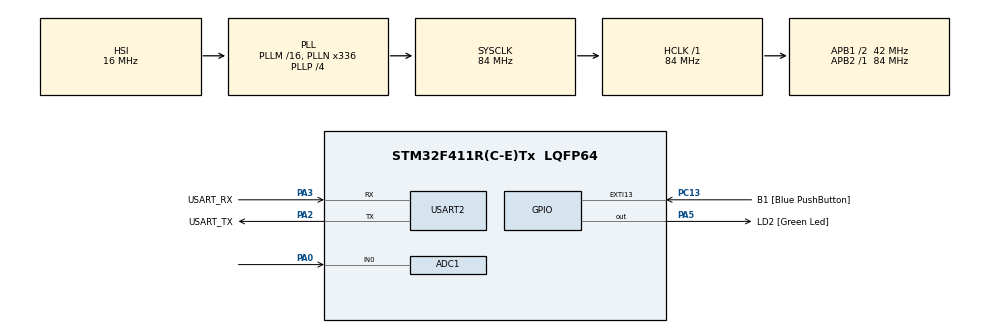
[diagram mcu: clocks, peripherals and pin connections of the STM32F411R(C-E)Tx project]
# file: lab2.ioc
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ADC1.Channel-1\#ChannelRegularConversion=ADC_CHANNEL_0
ADC1.Channel-2\#ChannelRegularConversion=ADC_CHANNEL_TEMPSENSOR
ADC1.ContinuousConvMode=ENABLE
ADC1.DMAContinuousRequests=ENABLE
ADC1.NbrOfConversion=2
ADC1.NbrOfConversionFlag=1
ADC1.Rank-1\#ChannelRegularConversion=1
ADC1.Rank-2\#ChannelRegularConversion=2
ADC1.SamplingTime-1\#ChannelRegularConversion=ADC_SAMPLETIME_480CYCLES
ADC1.SamplingTime-2\#ChannelRegularConversion=ADC_SAMPLETIME_480CYCLES
ADC1.ScanConvMode=ENABLE
ADC1.master=1
Dma.ADC1.0.Direction=DMA_PERIPH_TO_MEMORY
Dma.ADC1.0.FIFOMode=DMA_FIFOMODE_DISABLE
Dma.ADC1.0.Instance=DMA2_Stream0
Dma.ADC1.0.MemDataAlignment=DMA_MDATAALIGN_HALFWORD
Dma.ADC1.0.MemInc=DMA_MINC_ENABLE
Dma.ADC1.0.Mode=DMA_CIRCULAR
Dma.ADC1.0.PeriphDataAlignment=DMA_PDATAALIGN_HALFWORD
Dma.ADC1.0.PeriphInc=DMA_PINC_DISABLE
Dma.ADC1.0.Priority=DMA_PRIORITY_LOW
Dma.Request0=ADC1
Mcu.Family=STM32F4
Mcu.Name=STM32F411R(C-E)Tx
Mcu.Package=LQFP64
NVIC.DMA2_Stream0_IRQn=true\:0\:0\:false\:false\:true\:false\:true\:true
NVIC.PriorityGroup=NVIC_PRIORITYGROUP_0
PA0-WKUP.Signal=ADCx_IN0
PA13.GPIO_Label=TMS
PA13.Mode=Serial_Wire
PA13.Signal=SYS_JTMS-SWDIO
PA14.GPIO_Label=TCK
PA14.Mode=Serial_Wire
PA14.Signal=SYS_JTCK-SWCLK
PA2.GPIO_Label=USART_TX
PA2.Mode=Asynchronous
PA2.Signal=USART2_TX
PA3.GPIO_Label=USART_RX
PA3.Mode=Asynchronous
PA3.Signal=USART2_RX
PA5.GPIO_Label=LD2 [Green Led]
PA5.Signal=GPIO_Output
PB3.GPIO_Label=SWO
PB3.Signal=SYS_JTDO-SWO
PC13-ANTI_TAMP.GPIO_Label=B1 [Blue PushButton]
PC13-ANTI_TAMP.GPIO_ModeDefaultEXTI=GPIO_MODE_IT_FALLING
PC13-ANTI_TAMP.Signal=GPXTI13
PC14-OSC32_IN.Mode=LSE-External-Oscillator
PC14-OSC32_IN.Signal=RCC_OSC32_IN
PC15-OSC32_OUT.Mode=LSE-External-Oscillator
PC15-OSC32_OUT.Signal=RCC_OSC32_OUT
PH0\ -\ OSC_IN.Mode=HSE-External-Clock-Source
PH0\ -\ OSC_IN.Signal=RCC_OSC_IN
PH1\ -\ OSC_OUT.Mode=HSE-External-Clock-Source
PH1\ -\ OSC_OUT.Signal=RCC_OSC_OUT
ProjectManager.HeapSize=0x200
ProjectManager.StackSize=0x400
ProjectManager.TargetToolchain=STM32CubeIDE
RCC.48MHZClocksFreq_Value=84000000
RCC.AHBFreq_Value=84000000
RCC.APB1CLKDivider=RCC_HCLK_DIV2
RCC.APB1Freq_Value=42000000
RCC.APB1TimFreq_Value=84000000
RCC.APB2Freq_Value=84000000
RCC.APB2TimFreq_Value=84000000
RCC.CortexFreq_Value=84000000
RCC.FLatency-AdvancedSettings=FLASH_LATENCY_2
RCC.HCLKFreq_Value=84000000
RCC.HSE_VALUE=8000000
RCC.HSI_VALUE=16000000
RCC.PLLN=336
RCC.PLLP=RCC_PLLP_DIV4
RCC.SYSCLKFreq_VALUE=84000000
RCC.SYSCLKSource=RCC_SYSCLKSOURCE_PLLCLK
RCC.VCOOutputFreq_Value=336000000
SH.ADCx_IN0.0=ADC1_IN0,IN0
USART2.VirtualMode=VM_ASYNC
VP_ADC1_TempSens_Input.Mode=IN-TempSens
board=NUCLEO-F411RE

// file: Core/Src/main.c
/* USER CODE BEGIN Header */
/**
  ******************************************************************************
  * @file           : main.c
  * @brief          : Main program body
  ******************************************************************************
  * @attention
  *
  * Copyright (c) 2023 STMicroelectronics.
  * All rights reserved.
  *
  * This software is licensed under terms that can be found in the LICENSE file
  * in the root directory of this software component.
  * If no LICENSE file comes with this software, it is provided AS-IS.
  *
  ******************************************************************************
  */
/* USER CODE END Header */
#include "main.h"

ADC_HandleTypeDef hadc1;
DMA_HandleTypeDef hdma_adc1;

UART_HandleTypeDef huart2;

/* USER CODE BEGIN PV */
// half word
struct Buffer{
	uint16_t ADC_IN0;
	uint16_t TempSensor;
};

struct Buffer B[20] = {0};

uint32_t temp = 0;
uint32_t mV = 0;
uint32_t average_temp = 0;
uint32_t temp_cal = 0;
uint32_t average_mV = 0;

/* USER CODE END PV */

void SystemClock_Config(void);
static void MX_GPIO_Init(void);
static void MX_DMA_Init(void);
static void MX_USART2_UART_Init(void);
static void MX_ADC1_Init(void);

int main(void)
{

  /* MCU Configuration--------------------------------------------------------*/

  /* Reset of all peripherals, Initializes the Flash interface and the Systick. */
  HAL_Init();

  /* Configure the system clock */
  SystemClock_Config();

  /* Initialize all configured peripherals */
  MX_GPIO_Init();
  MX_DMA_Init();
  MX_USART2_UART_Init();
  MX_ADC1_Init();
  /* USER CODE BEGIN 2 */

  HAL_ADC_Start_DMA(&hadc1, B, 40);
  /* USER CODE END 2 */

  /* Infinite loop */
  while (1)
  {

    /* USER CODE BEGIN 3 */
	  static uint32_t timestamp = 0;
	  if(HAL_GetTick() >= timestamp)
	  {
		  timestamp = HAL_GetTick() + 1000;
	  }
	  register int i = 0;
	  for(i = 0; i<20; i++){
		  temp = temp + (((B[i].TempSensor)*3.3*1000)/4096);
		  mV = mV + ((B[i].ADC_IN0)*3.3*1000/4096);
	  }

	  temp = temp/20;
	  average_temp = ((temp - 760)/2.5) + 25 + 273;

	  mV = mV*2; // V to mV
	  average_mV = mV/20;

	  // reset
	  temp = 0;
	  mV = 0;
//	  }
  }
  /* USER CODE END 3 */
}

void SystemClock_Config(void)
{
  RCC_OscInitTypeDef RCC_OscInitStruct = {0};
  RCC_ClkInitTypeDef RCC_ClkInitStruct = {0};

  /** Configure the main internal regulator output voltage
  */
  __HAL_RCC_PWR_CLK_ENABLE();
  __HAL_PWR_VOLTAGESCALING_CONFIG(PWR_REGULATOR_VOLTAGE_SCALE1);

  /** Initializes the RCC Oscillators according to the specified parameters
  * in the RCC_OscInitTypeDef structure.
  */
  RCC_OscInitStruct.OscillatorType = RCC_OSCILLATORTYPE_HSI;
  RCC_OscInitStruct.HSIState = RCC_HSI_ON;
  RCC_OscInitStruct.HSICalibrationValue = RCC_HSICALIBRATION_DEFAULT;
  RCC_OscInitStruct.PLL.PLLState = RCC_PLL_ON;
  RCC_OscInitStruct.PLL.PLLSource = RCC_PLLSOURCE_HSI;
  RCC_OscInitStruct.PLL.PLLM = 16;
  RCC_OscInitStruct.PLL.PLLN = 336;
  RCC_OscInitStruct.PLL.PLLP = RCC_PLLP_DIV4;
  RCC_OscInitStruct.PLL.PLLQ = 4;
  if (HAL_RCC_OscConfig(&RCC_OscInitStruct) != HAL_OK)
  {
    Error_Handler();
  }

  /** Initializes the CPU, AHB and APB buses clocks
  */
  RCC_ClkInitStruct.ClockType = RCC_CLOCKTYPE_HCLK|RCC_CLOCKTYPE_SYSCLK
                              |RCC_CLOCKTYPE_PCLK1|RCC_CLOCKTYPE_PCLK2;
  RCC_ClkInitStruct.SYSCLKSource = RCC_SYSCLKSOURCE_PLLCLK;
  RCC_ClkInitStruct.AHBCLKDivider = RCC_SYSCLK_DIV1;
  RCC_ClkInitStruct.APB1CLKDivider = RCC_HCLK_DIV2;
  RCC_ClkInitStruct.APB2CLKDivider = RCC_HCLK_DIV1;

  if (HAL_RCC_ClockConfig(&RCC_ClkInitStruct, FLASH_LATENCY_2) != HAL_OK)
  {
    Error_Handler();
  }
}

static void MX_ADC1_Init(void)
{

  ADC_ChannelConfTypeDef sConfig = {0};

  /** Configure the global features of the ADC (Clock, Resolution, Data Alignment and number of conversion)
  */
  hadc1.Instance = ADC1;
  hadc1.Init.ClockPrescaler = ADC_CLOCK_SYNC_PCLK_DIV4;
  hadc1.Init.Resolution = ADC_RESOLUTION_12B;
  hadc1.Init.ScanConvMode = ENABLE;
  hadc1.Init.ContinuousConvMode = ENABLE;
  hadc1.Init.DiscontinuousConvMode = DISABLE;
  hadc1.Init.ExternalTrigConvEdge = ADC_EXTERNALTRIGCONVEDGE_NONE;
  hadc1.Init.ExternalTrigConv = ADC_SOFTWARE_START;
  hadc1.Init.DataAlign = ADC_DATAALIGN_RIGHT;
  hadc1.Init.NbrOfConversion = 2;
  hadc1.Init.DMAContinuousRequests = ENABLE;
  hadc1.Init.EOCSelection = ADC_EOC_SINGLE_CONV;
  if (HAL_ADC_Init(&hadc1) != HAL_OK)
  {
    Error_Handler();
  }

  /** Configure for the selected ADC regular channel its corresponding rank in the sequencer and its sample time.
  */
  sConfig.Channel = ADC_CHANNEL_0;
  sConfig.Rank = 1;
  sConfig.SamplingTime = ADC_SAMPLETIME_480CYCLES;
  if (HAL_ADC_ConfigChannel(&hadc1, &sConfig) != HAL_OK)
  {
    Error_Handler();
  }

  /** Configure for the selected ADC regular channel its corresponding rank in the sequencer and its sample time.
  */
  sConfig.Channel = ADC_CHANNEL_TEMPSENSOR;
  sConfig.Rank = 2;
  if (HAL_ADC_ConfigChannel(&hadc1, &sConfig) != HAL_OK)
  {
    Error_Handler();
  }

}

static void MX_USART2_UART_Init(void)
{

  huart2.Instance = USART2;
  huart2.Init.BaudRate = 115200;
  huart2.Init.WordLength = UART_WORDLENGTH_8B;
  huart2.Init.StopBits = UART_STOPBITS_1;
  huart2.Init.Parity = UART_PARITY_NONE;
  huart2.Init.Mode = UART_MODE_TX_RX;
  huart2.Init.HwFlowCtl = UART_HWCONTROL_NONE;
  huart2.Init.OverSampling = UART_OVERSAMPLING_16;
  if (HAL_UART_Init(&huart2) != HAL_OK)
  {
    Error_Handler();
  }

}

static void MX_DMA_Init(void)
{

  /* DMA controller clock enable */
  __HAL_RCC_DMA2_CLK_ENABLE();

  /* DMA interrupt init */
  /* DMA2_Stream0_IRQn interrupt configuration */
  HAL_NVIC_SetPriority(DMA2_Stream0_IRQn, 0, 0);
  HAL_NVIC_EnableIRQ(DMA2_Stream0_IRQn);

}

static void MX_GPIO_Init(void)
{
  GPIO_InitTypeDef GPIO_InitStruct = {0};

  /* GPIO Ports Clock Enable */
  __HAL_RCC_GPIOC_CLK_ENABLE();
  __HAL_RCC_GPIOH_CLK_ENABLE();
  __HAL_RCC_GPIOA_CLK_ENABLE();
  __HAL_RCC_GPIOB_CLK_ENABLE();

  /*Configure GPIO pin Output Level */
  HAL_GPIO_WritePin(LD2_GPIO_Port, LD2_Pin, GPIO_PIN_RESET);

  /*Configure GPIO pin : B1_Pin */
  GPIO_InitStruct.Pin = B1_Pin;
  GPIO_InitStruct.Mode = GPIO_MODE_IT_FALLING;
  GPIO_InitStruct.Pull = GPIO_NOPULL;
  HAL_GPIO_Init(B1_GPIO_Port, &GPIO_InitStruct);

  /*Configure GPIO pin : LD2_Pin */
  GPIO_InitStruct.Pin = LD2_Pin;
  GPIO_InitStruct.Mode = GPIO_MODE_OUTPUT_PP;
  GPIO_InitStruct.Pull = GPIO_NOPULL;
  GPIO_InitStruct.Speed = GPIO_SPEED_FREQ_LOW;
  HAL_GPIO_Init(LD2_GPIO_Port, &GPIO_InitStruct);

}

void Error_Handler(void)
{
  __disable_irq();
  while (1)
  {
  }
}
